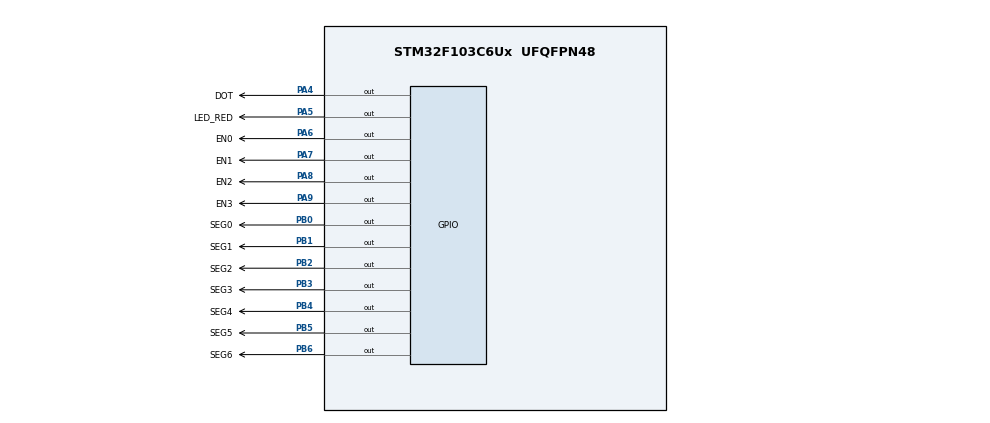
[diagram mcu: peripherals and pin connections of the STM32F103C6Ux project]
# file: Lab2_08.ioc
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Mcu.Family=STM32F1
Mcu.Name=STM32F103C6Ux
Mcu.Package=UFQFPN48
NVIC.PriorityGroup=NVIC_PRIORITYGROUP_4
NVIC.TIM2_IRQn=true\:0\:0\:false\:false\:true\:true\:true
PA4.GPIO_Label=DOT
PA4.Signal=GPIO_Output
PA5.GPIO_Label=LED_RED
PA5.Signal=GPIO_Output
PA6.GPIO_Label=EN0
PA6.Signal=GPIO_Output
PA7.GPIO_Label=EN1
PA7.Signal=GPIO_Output
PA8.GPIO_Label=EN2
PA8.Signal=GPIO_Output
PA9.GPIO_Label=EN3
PA9.Signal=GPIO_Output
PB0.GPIO_Label=SEG0
PB0.Signal=GPIO_Output
PB1.GPIO_Label=SEG1
PB1.Signal=GPIO_Output
PB2.GPIO_Label=SEG2
PB2.Signal=GPIO_Output
PB3.GPIO_Label=SEG3
PB3.Signal=GPIO_Output
PB4.GPIO_Label=SEG4
PB4.Signal=GPIO_Output
PB5.GPIO_Label=SEG5
PB5.Signal=GPIO_Output
PB6.GPIO_Label=SEG6
PB6.Signal=GPIO_Output
ProjectManager.HeapSize=0x200
ProjectManager.StackSize=0x400
ProjectManager.TargetToolchain=STM32CubeIDE
RCC.APB1Freq_Value=8000000
RCC.APB2Freq_Value=8000000
TIM2.Period=9
TIM2.Prescaler=7999
VP_SYS_VS_ND.Mode=No_Debug
VP_TIM2_VS_ClockSourceINT.Mode=Internal
board=custom

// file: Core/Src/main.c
/* USER CODE BEGIN Header */
/**
  ******************************************************************************
  * @file           : main.c
  * @brief          : Main program body
  ******************************************************************************
  * @attention
  *
  * <h2><center>&copy; Copyright (c) 2022 STMicroelectronics.
  * All rights reserved.</center></h2>
  *
  * This software component is licensed by ST under BSD 3-Clause license,
  * the "License"; You may not use this file except in compliance with the
  * License. You may obtain a copy of the License at:
  *                        opensource.org/licenses/BSD-3-Clause
  *
  ******************************************************************************
  */
/* USER CODE END Header */
#include "main.h"

/* USER CODE BEGIN Includes */
#include "software_timer.h"
/* USER CODE END Includes */

TIM_HandleTypeDef htim2;

/* USER CODE BEGIN PV */
#define setDot 100
#define setLed 50
#define setSeg 50
int hour = 23, minute = 59, second = 45;
/* USER CODE END PV */

void SystemClock_Config(void);
static void MX_GPIO_Init(void);
static void MX_TIM2_Init(void);
void updateClockBuffer();

/* USER CODE BEGIN 0 */
int countDot=100;
int countLed=50;
int countSeg=50; //500ms switch seg
unsigned char segmentNumber[10]={
		0x40,
		0x79,
		0x24,
		0x30,
		0x19,
		0x12,
		0x02,
		0x78,
		0x00,
		0x10
};
void display7SEG(int counter){
	unsigned char num = segmentNumber[counter];
	HAL_GPIO_WritePin(SEG0_GPIO_Port, SEG0_Pin, ((num>>0)&0x01));
	HAL_GPIO_WritePin(SEG1_GPIO_Port, SEG1_Pin, ((num>>1)&0x01));
	HAL_GPIO_WritePin(SEG2_GPIO_Port, SEG2_Pin, ((num>>2)&0x01));
	HAL_GPIO_WritePin(SEG3_GPIO_Port, SEG3_Pin, ((num>>3)&0x01));
	HAL_GPIO_WritePin(SEG4_GPIO_Port, SEG4_Pin, ((num>>4)&0x01));
	HAL_GPIO_WritePin(SEG5_GPIO_Port, SEG5_Pin, ((num>>5)&0x01));
	HAL_GPIO_WritePin(SEG6_GPIO_Port, SEG6_Pin, ((num>>6)&0x01));
}
const int MAX_LED = 4;
int index_led = 0;
int led_buffer [4] = {1, 3, 0, 4};
void updateClockBuffer(){
	led_buffer[0] = hour / 10;		//First digit of hour
	led_buffer[1] = hour % 10;		//Second digit of hour
	led_buffer[2] = minute / 10;	//First digit of minute
	led_buffer[3] = minute % 10;	//Second digit of minute
}
void update7SEG ( int index ){
	display7SEG (led_buffer[index]);
	switch ( index ){
	case 0:
		// Display the first 7 SEG with led_buffer [0]
		HAL_GPIO_WritePin(EN0_GPIO_Port, EN0_Pin, RESET);
		HAL_GPIO_WritePin(EN1_GPIO_Port, EN1_Pin, SET);
		HAL_GPIO_WritePin(EN2_GPIO_Port, EN2_Pin, SET);
		HAL_GPIO_WritePin(EN3_GPIO_Port, EN3_Pin, SET);
		break ;
	case 1:
		// Display the second 7 SEG with led_buffer [1]
		HAL_GPIO_WritePin(EN0_GPIO_Port, EN0_Pin, SET);
		HAL_GPIO_WritePin(EN1_GPIO_Port, EN1_Pin, RESET);
		HAL_GPIO_WritePin(EN2_GPIO_Port, EN2_Pin, SET);
		HAL_GPIO_WritePin(EN3_GPIO_Port, EN3_Pin, SET);
		break ;
	case 2:
		// Display the third 7 SEG with led_buffer [2]
		HAL_GPIO_WritePin(EN0_GPIO_Port, EN0_Pin, SET);
		HAL_GPIO_WritePin(EN1_GPIO_Port, EN1_Pin, SET);
		HAL_GPIO_WritePin(EN2_GPIO_Port, EN2_Pin, RESET);
		HAL_GPIO_WritePin(EN3_GPIO_Port, EN3_Pin, SET);
		break ;
	case 3:
		// Display the forth 7 SEG with led_buffer [3]
		HAL_GPIO_WritePin(EN0_GPIO_Port, EN0_Pin, SET);
		HAL_GPIO_WritePin(EN1_GPIO_Port, EN1_Pin, SET);
		HAL_GPIO_WritePin(EN2_GPIO_Port, EN2_Pin, SET);
		HAL_GPIO_WritePin(EN3_GPIO_Port, EN3_Pin, RESET);
		break ;
	default :
		break ;
	}
}
/* USER CODE END 0 */

int main(void)
{

  /* MCU Configuration--------------------------------------------------------*/

  /* Reset of all peripherals, Initializes the Flash interface and the Systick. */
  HAL_Init();

  /* Configure the system clock */
  SystemClock_Config();

  /* Initialize all configured peripherals */
  MX_GPIO_Init();
  MX_TIM2_Init();
  /* USER CODE BEGIN 2 */
  HAL_TIM_Base_Start_IT(&htim2);
  /* USER CODE END 2 */

  /* Infinite loop */
  /* USER CODE BEGIN WHILE */
  setTimer0(1000); //DOT_Toggle
  setTimer1(500);
  while (1)
  {
    /* USER CODE END WHILE */
	  if (timer0_flag == 1){
	  	 		  second++;
	  	 		  if (second >= 60){
	  	 			  second = 0;
	  	 			  minute++;
	  	 		  }
	  	 		  if (minute >= 60){
	  	 			  minute = 0;
	  	 			  hour++;
	  	 		  }
	  	 		  if (hour >= 24){
	  	 			  hour = 0;
	  	 		  }
	  	 		  updateClockBuffer();
	  	 		  HAL_GPIO_TogglePin(DOT_GPIO_Port, DOT_Pin); // dem DOT tu interrupt len day
	  	 		  setTimer0(1000);
	  }
	  if(timer1_flag==1){
		  HAL_GPIO_TogglePin(LED_RED_GPIO_Port, LED_RED_Pin);
		  if(index_led >3) index_led=0;
		  update7SEG(index_led); // chuyen sang main
		  index_led++;
		  setTimer1(500);
	  }
  }
}

void SystemClock_Config(void)
{
  RCC_OscInitTypeDef RCC_OscInitStruct = {0};
  RCC_ClkInitTypeDef RCC_ClkInitStruct = {0};

  /** Initializes the RCC Oscillators according to the specified parameters
  * in the RCC_OscInitTypeDef structure.
  */
  RCC_OscInitStruct.OscillatorType = RCC_OSCILLATORTYPE_HSI;
  RCC_OscInitStruct.HSIState = RCC_HSI_ON;
  RCC_OscInitStruct.HSICalibrationValue = RCC_HSICALIBRATION_DEFAULT;
  RCC_OscInitStruct.PLL.PLLState = RCC_PLL_NONE;
  if (HAL_RCC_OscConfig(&RCC_OscInitStruct) != HAL_OK)
  {
    Error_Handler();
  }
  /** Initializes the CPU, AHB and APB buses clocks
  */
  RCC_ClkInitStruct.ClockType = RCC_CLOCKTYPE_HCLK|RCC_CLOCKTYPE_SYSCLK
                              |RCC_CLOCKTYPE_PCLK1|RCC_CLOCKTYPE_PCLK2;
  RCC_ClkInitStruct.SYSCLKSource = RCC_SYSCLKSOURCE_HSI;
  RCC_ClkInitStruct.AHBCLKDivider = RCC_SYSCLK_DIV1;
  RCC_ClkInitStruct.APB1CLKDivider = RCC_HCLK_DIV1;
  RCC_ClkInitStruct.APB2CLKDivider = RCC_HCLK_DIV1;

  if (HAL_RCC_ClockConfig(&RCC_ClkInitStruct, FLASH_LATENCY_0) != HAL_OK)
  {
    Error_Handler();
  }
}

static void MX_TIM2_Init(void)
{

  TIM_ClockConfigTypeDef sClockSourceConfig = {0};
  TIM_MasterConfigTypeDef sMasterConfig = {0};

  htim2.Instance = TIM2;
  htim2.Init.Prescaler = 7999;
  htim2.Init.CounterMode = TIM_COUNTERMODE_UP;
  htim2.Init.Period = 9;
  htim2.Init.ClockDivision = TIM_CLOCKDIVISION_DIV1;
  htim2.Init.AutoReloadPreload = TIM_AUTORELOAD_PRELOAD_DISABLE;
  if (HAL_TIM_Base_Init(&htim2) != HAL_OK)
  {
    Error_Handler();
  }
  sClockSourceConfig.ClockSource = TIM_CLOCKSOURCE_INTERNAL;
  if (HAL_TIM_ConfigClockSource(&htim2, &sClockSourceConfig) != HAL_OK)
  {
    Error_Handler();
  }
  sMasterConfig.MasterOutputTrigger = TIM_TRGO_RESET;
  sMasterConfig.MasterSlaveMode = TIM_MASTERSLAVEMODE_DISABLE;
  if (HAL_TIMEx_MasterConfigSynchronization(&htim2, &sMasterConfig) != HAL_OK)
  {
    Error_Handler();
  }

}

static void MX_GPIO_Init(void)
{
  GPIO_InitTypeDef GPIO_InitStruct = {0};

  /* GPIO Ports Clock Enable */
  __HAL_RCC_GPIOA_CLK_ENABLE();
  __HAL_RCC_GPIOB_CLK_ENABLE();

  /*Configure GPIO pin Output Level */
  HAL_GPIO_WritePin(GPIOA, DOT_Pin|LED_RED_Pin|EN0_Pin|EN1_Pin
                          |EN2_Pin|EN3_Pin, GPIO_PIN_RESET);

  /*Configure GPIO pin Output Level */
  HAL_GPIO_WritePin(GPIOB, SEG0_Pin|SEG1_Pin|SEG2_Pin|SEG3_Pin
                          |SEG4_Pin|SEG5_Pin|SEG6_Pin, GPIO_PIN_RESET);

  /*Configure GPIO pins : DOT_Pin LED_RED_Pin EN0_Pin EN1_Pin
                           EN2_Pin EN3_Pin */
  GPIO_InitStruct.Pin = DOT_Pin|LED_RED_Pin|EN0_Pin|EN1_Pin
                          |EN2_Pin|EN3_Pin;
  GPIO_InitStruct.Mode = GPIO_MODE_OUTPUT_PP;
  GPIO_InitStruct.Pull = GPIO_NOPULL;
  GPIO_InitStruct.Speed = GPIO_SPEED_FREQ_LOW;
  HAL_GPIO_Init(GPIOA, &GPIO_InitStruct);

  /*Configure GPIO pins : SEG0_Pin SEG1_Pin SEG2_Pin SEG3_Pin
                           SEG4_Pin SEG5_Pin SEG6_Pin */
  GPIO_InitStruct.Pin = SEG0_Pin|SEG1_Pin|SEG2_Pin|SEG3_Pin
                          |SEG4_Pin|SEG5_Pin|SEG6_Pin;
  GPIO_InitStruct.Mode = GPIO_MODE_OUTPUT_PP;
  GPIO_InitStruct.Pull = GPIO_NOPULL;
  GPIO_InitStruct.Speed = GPIO_SPEED_FREQ_LOW;
  HAL_GPIO_Init(GPIOB, &GPIO_InitStruct);

}

/* USER CODE BEGIN 4 */

void HAL_TIM_PeriodElapsedCallback ( TIM_HandleTypeDef * htim )
{

	timer_run ();
	// YOUR OTHER CODE
	//DOT_TOGGLE IN MAIN
//	countLed--;
//	countSeg--;
	//if(countLed<=0){
		//countLed=setLed;
		//HAL_GPIO_TogglePin(LED_RED_GPIO_Port, LED_RED_Pin);
	//}
	//if(countSeg<=0){
		//countSeg=setSeg;
		//if(index_led >3) index_led=0;
		//update7SEG(index_led); // chuyen sang main
		//index_led++;
	//}
}
/* USER CODE END 4 */

void Error_Handler(void)
{
  __disable_irq();
  while (1)
  {
  }
}

/************************ (C) COPYRIGHT STMicroelectronics *****END OF FILE****/
